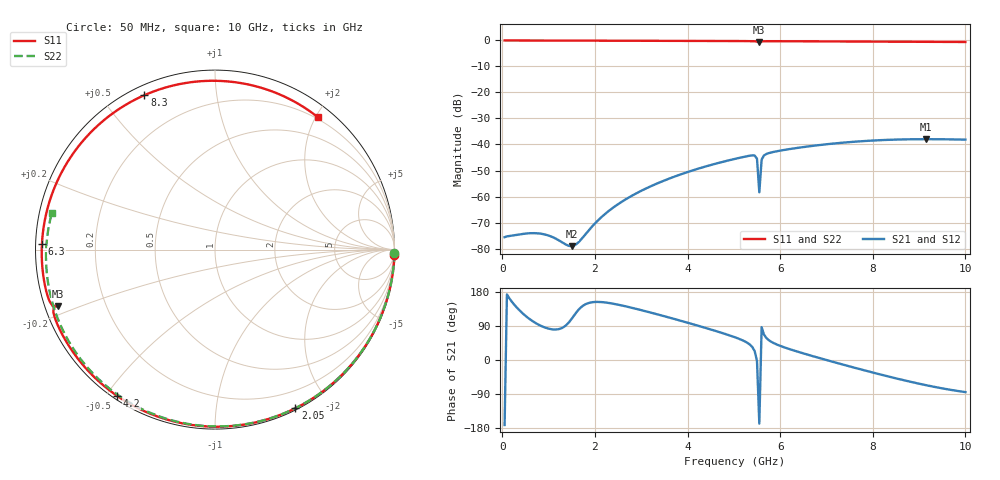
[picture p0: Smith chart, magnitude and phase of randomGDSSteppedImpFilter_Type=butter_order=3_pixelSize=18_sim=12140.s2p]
! freq	dB(S11)	phase(S11)	dB(S12)	phase(S12)
!  dB(S21)	phase(S21)	dB(S22)	phase(S22)
!S-par simulation data
#  GHz  S  DB  R 50
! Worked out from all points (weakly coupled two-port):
!   200 points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, 50 MHz to 10 GHz, reference 50 ohm
!   highest |S21| = -37.95 dB at 9.15 GHz (marker M1); lowest = -79.1 dB at 1.5 GHz (marker M2)
!   lowest |S11| = -0.6 dB at 5.55 GHz (marker M3), VSWR 28.39, Z = 1.81 - j8.7 ohm
!   |S11| at or under -10 dB: nowhere
!   |S22| runs from -0.6 to 0.0 dB; largest |S21 - S12| = 0
!   S11 on the Smith chart (normalised r, x): 50 MHz: 0, -72; 2.05 GHz: 0.02, -1.63; 4.2 GHz: 0.01, -0.53; 6.3 GHz: 0.02, +0.02; 8.3 GHz: 0.04, +0.64; 10 GHz: 0.17, +2.03
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0.05  -0.00 -1.6  -75.64 -171.6  -75.64 -171.6  -0.00 -1.1
0.8  -0.03 -25.2  -74.22 92.1  -74.22 92.1  -0.02 -17.1
1.5  -0.06 -46.7  -79.09 109.1  -79.09 109.1  -0.04 -31.8
1.6  -0.06 -49.7  -78.32 125.8  -78.32 125.8  -0.04 -33.9
1.75  -0.07 -54.2  -75.50 143.8  -75.50 143.8  -0.05 -37.0
2.05  -0.08 -63.1  -69.46 153.3  -69.46 153.3  -0.06 -43.2
2.6  -0.10 -79.1  -61.79 143.4  -61.79 143.4  -0.07 -54.3
3.4  -0.13 -101.8  -54.56 118.8  -54.56 118.8  -0.09 -70.0
4.2  -0.17 -123.8  -49.46 91.4  -49.46 91.4  -0.12 -85.2
5.05  -0.22 -147.1  -45.42 58.8  -45.42 58.8  -0.16 -100.9
5.4  -0.27 -157.2  -44.17 34.0  -44.17 34.0  -0.17 -107.2
5.5  -0.42 -160.5  -45.50 -2.4  -45.50 -2.4  -0.18 -109.1
5.55  -0.61 -160.2  -58.38 -167.8  -58.38 -167.8  -0.19 -109.9
5.6  -0.37 -161.0  -45.81 86.7  -45.81 86.7  -0.19 -110.8
5.65  -0.30 -162.7  -44.22 67.3  -44.22 67.3  -0.19 -111.7
6.3  -0.31 178.1  -41.49 24.9  -41.49 24.9  -0.23 -123.3
6.7  -0.35 166.3  -40.53 10.3  -40.53 10.3  -0.26 -130.3
7.5  -0.42 141.4  -39.08 -16.9  -39.08 -16.9  -0.32 -144.6
8.3  -0.48 114.6  -38.23 -42.4  -38.23 -42.4  -0.40 -159.1
8.35  -0.49 112.8  -38.20 -43.9  -38.20 -43.9  -0.41 -160.0
9.15  -0.54 84.0  -37.95 -66.5  -37.95 -66.5  -0.50 -175.3
10  -0.59 52.3  -38.13 -84.7  -38.13 -84.7  -0.62 167.4
